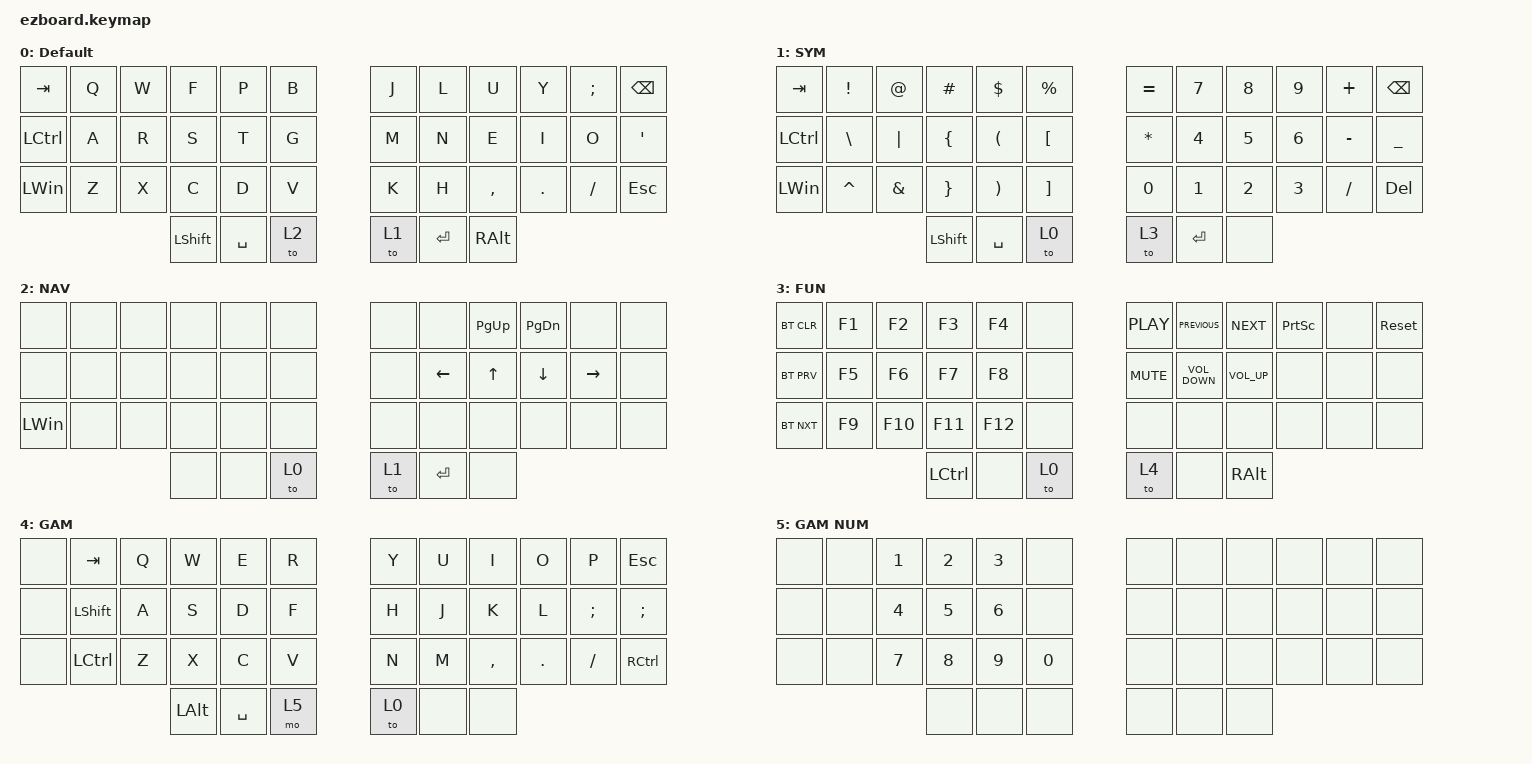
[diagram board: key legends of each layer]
/*
 * Copyright (c) 2020 The ZMK Contributors
 *
 * SPDX-License-Identifier: MIT
 */

#include <behaviors.dtsi>
#include <dt-bindings/zmk/bt.h>
#include <dt-bindings/zmk/keys.h>

/ {
    keymap {
        compatible = "zmk,keymap";

        default_layer {
            // -----------------------------------------------------------------------------------------
            // |  TAB |  Q  |  W  |  F  |  P  |  B  |   |  J  |  L   |  U  |  Y  |  ;  | BKSP |
            // | CTRL |  A  |  R  |  S  |  T  |  G  |   |  M  |  N   |  E  |  I  |  O  |  '   |
            // | SHFT |  Z  |  X  |  C  |  D  |  V  |   |  K  |  H   |  ,  |  .  |  /  | ESC  |
            //                    | GUI | LWR | SPC |   | ENT | RSE  | ALT |

            bindings = <
&kp TAB       &kp Q  &kp W  &kp F       &kp P      &kp B  &kp J  &kp L       &kp U      &kp Y    &kp SEMICOLON  &kp BSPC
&kp LCTRL     &kp A  &kp R  &kp S       &kp T      &kp G  &kp M  &kp N       &kp E      &kp I    &kp O          &kp SQT
&kp LEFT_WIN  &kp Z  &kp X  &kp C       &kp D      &kp V  &kp K  &kp H       &kp COMMA  &kp DOT  &kp FSLH       &kp ESC
                            &kp LSHIFT  &kp SPACE  &to 2  &to 1  &kp RETURN  &kp RALT
            >;

            display-name = "Default";
        };

        sym_layer {
            // -----------------------------------------------------------------------------------------
            // |     |     |     |     |     |     |   |     |  7  |  8  |  9  |     |     |
            // |     |     |     |     |     |     |   |     |  4  |  5  |  6  |     |     |
            // |     |     |     |     |     |     |   |     |  1  |  2  |  3  |     |     |
            //                   |     |     |     |   |     |     |     |

            bindings = <
&kp TAB       &kp EXCLAMATION  &kp AT_SIGN    &kp HASH         &kp DOLLAR             &kp PERCENT        &kp EQUAL     &kp N7      &kp N8  &kp N9  &kp PLUS   &kp BACKSPACE
&kp LCTRL     &kp BACKSLASH    &kp PIPE       &kp LEFT_BRACE   &kp LEFT_PARENTHESIS   &kp LEFT_BRACKET   &kp ASTERISK  &kp N4      &kp N5  &kp N6  &kp MINUS  &kp UNDERSCORE
&kp LEFT_WIN  &kp CARET        &kp AMPERSAND  &kp RIGHT_BRACE  &kp RIGHT_PARENTHESIS  &kp RIGHT_BRACKET  &kp N0        &kp N1      &kp N2  &kp N3  &kp SLASH  &kp DEL
                                              &kp LEFT_SHIFT   &kp SPACE              &to 0              &to 3         &kp RETURN  &none
            >;

            display-name = "SYM";
        };

        nav_layer {
            bindings = <
&none         &none  &none  &none  &none  &none  &none  &none      &kp PG_UP  &kp PAGE_DOWN  &none      &none
&none         &none  &none  &none  &none  &none  &none  &kp LEFT   &kp UP     &kp DOWN       &kp RIGHT  &none
&kp LEFT_WIN  &none  &none  &none  &none  &none  &none  &none      &none      &none          &none      &none
                            &none  &none  &to 0  &to 1  &kp ENTER  &none
            >;

            display-name = "NAV";
        };

        function_layer {
            // -----------------------------------------------------------------------------------------
            // | BTCLR | BT1 | BT2 | BT3 | BT4 | BT5 |   |     |     |     |     |     |     |
            // |       |     |     |     |     |     |   |     |     |     |     |     |     |
            // |       |     |     |     |     |     |   |     |     |     |     |     |     |
            //                     |     |     |     |   |     |     |     |

            bindings = <
&bt BT_CLR  &kp F1  &kp F2   &kp F3     &kp F4   &none  &kp C_PLAY  &kp C_PREVIOUS     &kp C_NEXT       &kp PRINTSCREEN  &none  &sys_reset
&bt BT_PRV  &kp F5  &kp F6   &kp F7     &kp F8   &none  &kp C_MUTE  &kp C_VOLUME_DOWN  &kp C_VOLUME_UP  &none            &none  &none
&bt BT_NXT  &kp F9  &kp F10  &kp F11    &kp F12  &none  &none       &none              &none            &none            &none  &none
                             &kp LCTRL  &none    &to 0  &to 4       &none              &kp RIGHT_ALT
            >;

            display-name = "FUN";
        };

        gaming_layer {
            bindings = <
&none  &kp TAB         &kp Q  &kp W         &kp E      &kp R  &kp Y  &kp U  &kp I      &kp O    &kp P     &kp ESC
&none  &kp LEFT_SHIFT  &kp A  &kp S         &kp D      &kp F  &kp H  &kp J  &kp K      &kp L    &kp SEMI  &kp SEMI
&none  &kp LCTRL       &kp Z  &kp X         &kp C      &kp V  &kp N  &kp M  &kp COMMA  &kp DOT  &kp FSLH  &kp RCTRL
                              &kp LEFT_ALT  &kp SPACE  &mo 5  &to 0  &none  &none
            >;

            display-name = "GAM";
        };

        gaming_num {
            bindings = <
&none  &none  &kp N1  &kp N2  &kp N3  &none   &none  &none  &none  &none  &none  &none
&none  &none  &kp N4  &kp N5  &kp N6  &none   &none  &none  &none  &none  &none  &none
&none  &none  &kp N7  &kp N8  &kp N9  &kp N0  &none  &none  &none  &none  &none  &none
                      &none   &none   &none   &none  &none  &none
            >;

            display-name = "GAM NUM";
        };
    };
};
